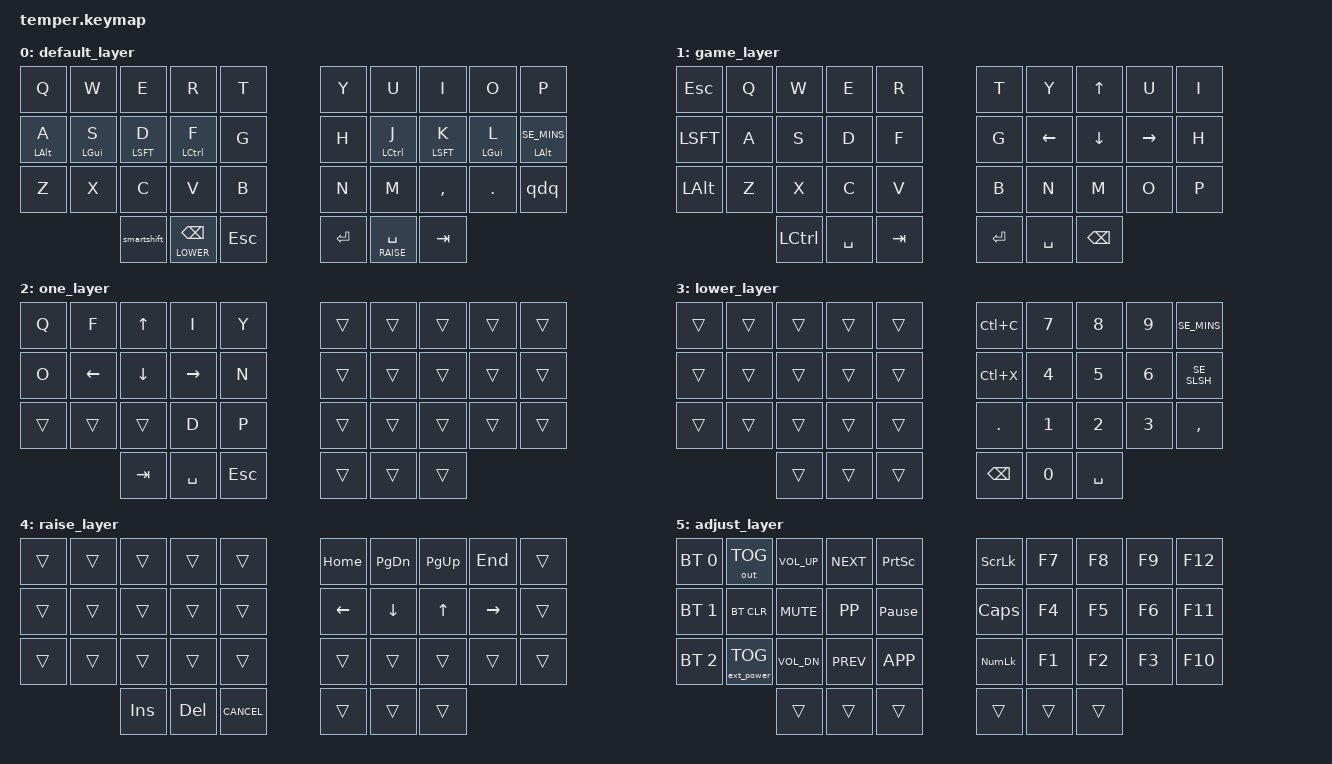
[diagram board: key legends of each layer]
#include <behaviors.dtsi>
#include "keys_se.h"
#include "betweenies.h"
#include <dt-bindings/zmk/bt.h>
#include <dt-bindings/zmk/outputs.h>
#include <dt-bindings/zmk/ext_power.h>

// key positions
#define RIGHT_HAND 5 6 7 8 9 15 16 17 18 19 25 26 27 28 29
#define LEFT_HAND 0 1 2 3 4 10 11 12 13 14 20 21 22 23 24
#define THUMBS 30 31 32 33 34 35

#define ___ &trans

// layers
#define DEFAULT 0
#define GAME 1
#define ONE 2
#define LOWER 3
#define RAISE 4
#define ADJUST 5

// https://github.com/urob/zmk-config#timeless-homerow-mods
#define HM(OTHER_HAND) \
  { \
      compatible = "zmk,behavior-hold-tap"; \
      #binding-cells = <2>; \
      flavor = "balanced"; \
      tapping-term-ms = <280>; \
      quick-tap-ms = <175>; \
      require-prior-idle-ms = <150>; \
      bindings = <&kp>, <&kp>; \
      hold-trigger-key-positions = <OTHER_HAND THUMBS>; \
      hold-trigger-on-release; \
  }

#define CMB_TIMEOUT 30
#define CMB_IDLE 100
#define CMB_SLOW_TIMEOUT 50
#define CMB_SLOW_IDLE 175

// This isn't perfect when overlapping with homerowmods (like SD and DF) since chording
// several of them will trigger a combo instead. The fix is tracked here
// https://github.com/zmkfirmware/zmk/issues/544, support for tap-only combos.
#define CMB(name, keypos, binding) \
  combo_ ## name { \
      layers = <DEFAULT>; \
      timeout-ms = <CMB_TIMEOUT>; \
      bindings = <binding>; \
      key-positions = <keypos>; \
      require-prior-idle-ms = <CMB_IDLE>; \
  }

&sk {
    // to avoid sticky shift potentially lasting for two keypresses instead of one
    quick-release;
};

&caps_word {
    continue-list = <SE_UNDS SE_MINS BACKSPACE DELETE>;
};

&lt {
    quick-tap-ms = <250>;
};

/ {
    macros {
        ZMK_MACRO(bothparens, bindings = <&kp SE_LPRN &kp SE_RPRN>;)
        ZMK_MACRO(bothbracks, bindings = <&kp SE_LBRC &kp SE_RBRC>;)
        ZMK_MACRO(bothbraces, bindings = <&kp SE_LCBR &kp SE_RCBR>;)
        ZMK_MACRO(bothltgt, bindings = <&kp SE_LT &kp SE_GT>;)
    };

    combos {
        compatible = "zmk,combos";

        combo_mo_adjust {
            timeout-ms = <CMB_SLOW_TIMEOUT>;
            bindings = <&mo ADJUST>;
            key-positions = <POS_BOTH_THUMBS>;
            require-prior-idle-ms = <CMB_SLOW_IDLE>;
        };

        combo_tog_game {
            layers = <DEFAULT GAME>;
            timeout-ms = <CMB_SLOW_TIMEOUT>;
            bindings = <&tog GAME>;
            key-positions = <POS_BOTH_RIGHT>;
            require-prior-idle-ms = <CMB_SLOW_IDLE>;
        };

        combo_tog_one {
            layers = <DEFAULT ONE>;
            timeout-ms = <CMB_SLOW_TIMEOUT>;
            bindings = <&tog ONE>;
            key-positions = <POS_BOTH_LEFT>;
            require-prior-idle-ms = <CMB_SLOW_IDLE>;
        };

        CMB(bslash, POS_ED, &kp SE_BSLS);
        CMB(and, POS_DC, &kp SE_AMPR);
        CMB(lpar, POS_SD, &kp SE_LPRN);
        CMB(rpar, POS_DF, &kp SE_RPRN);
        CMB(lbrack, POS_WE, &kp SE_LBRC);
        CMB(rbrack, POS_ER, &kp SE_RBRC);
        CMB(caret, POS_TG, &kp SE_CIRC);
        CMB(excl, POS_RF, &kp SE_EXLM);
        CMB(btick, POS_XC, &kp SE_GRV);
        CMB(ftick, POS_CV, &kp SE_ACUT);
        CMB(plus, POS_FV, &kp SE_PLUS);
        CMB(snabela, POS_WS, &kp SE_AT);
        CMB(tilde, POS_SX, &kp SE_TILD);
        CMB(staket, POS_GB, &kp SE_HASH);

        CMB(bothparens, POS_SDF, &bothparens);
        CMB(bothbracks, POS_WER, &bothbracks);

        CMB(dollar, POS_YH, &kp SE_DLR);
        CMB(slash, POS_IK, &kp SE_SLSH);
        CMB(or, POS_KCOM, &kp SE_PIPE);
        CMB(lbrace, POS_JK, &kp SE_LCBR);
        CMB(rbrace, POS_KL, &kp SE_RCBR);
        CMB(lt, POS_UI, &kp SE_LT);
        CMB(gt, POS_IO, &kp SE_GT);
        CMB(ques, POS_UJ, &kp SE_QUES);
        CMB(ouu, POS_OL, &kp SE_ARNG);
        CMB(aee, POS_LDOT, &kp SE_ADIA);
        CMB(oee, POS_COMDOT, &kp SE_ODIA);
        CMB(mult, POS_JM, &kp SE_ASTR);
        CMB(perc, POS_HN, &kp SE_PERC);
        CMB(eql, POS_MCOM, &kp SE_EQL);

        CMB(bothbraces, POS_JKL, &bothbraces);
        CMB(bothltgt, POS_UIO, &bothltgt);
    };
    behaviors {
        lhm: left_homerow_mods HM(RIGHT_HAND);
        rhm: right_homerow_mods HM(LEFT_HAND);
        smartshift: smart_shift {
            compatible = "zmk,behavior-mod-morph";
            #binding-cells = <0>;
            bindings = <&sk LSHFT>, <&caps_word>;
            mods = <(MOD_LSFT)>;
        };
        qdq: quote_double_quote {
            compatible = "zmk,behavior-mod-morph";
            #binding-cells = <0>;
            bindings = <&kp SE_QUOT>, <&kp SE_DQUO>;
            mods = <(MOD_LSFT|MOD_RSFT)>;
        };
    };
    keymap {
        compatible = "zmk,keymap";

        default_layer {
            bindings = <
// ┌─────────────┬─────────────┬─────────────┬─────────────┬─────────────┐   ┌─────────────┬─────────────┬─────────────┬─────────────┬─────────────┐
        &kp Q         &kp W         &kp E         &kp R         &kp T              &kp Y        &kp U         &kp I         &kp O         &kp P
// ├─────────────┼─────────────┼─────────────┼─────────────┼─────────────┤   ├─────────────┼─────────────┼─────────────┼─────────────┼─────────────┤
     &lhm LALT A   &lhm LGUI S   &lhm LSFT D   &lhm LCTL F      &kp G              &kp H     &rhm LCTL J   &rhm LSFT K   &rhm LGUI L  &rhm LALT SE_MINS
// ├─────────────┼─────────────┼─────────────┼─────────────┼─────────────┤   ├─────────────┼─────────────┼─────────────┼─────────────┼─────────────┤
        &kp Z         &kp X         &kp C         &kp V         &kp B              &kp N        &kp M       &kp COMMA      &kp DOT        &qdq
// └─────────────┴─────────────┼─────────────┼─────────────┼─────────────┤   ├─────────────┼─────────────┼─────────────┼─────────────┴─────────────┘
                                 &smartshift    &lt LOWER BSPC   &kp ESC           &kp RET    &lt RAISE SPACE  &kp TAB
//                             └─────────────┴─────────────┴─────────────┘   └─────────────┴─────────────┴─────────────┘
            >;
        };

        game_layer {
            bindings = <
// ┌─────────────┬─────────────┬─────────────┬─────────────┬─────────────┐   ┌─────────────┬─────────────┬─────────────┬─────────────┬─────────────┐
       &kp ESC        &kp Q         &kp W         &kp E         &kp R             &kp T         &kp Y        &kp UP         &kp U         &kp I
// ├─────────────┼─────────────┼─────────────┼─────────────┼─────────────┤   ├─────────────┼─────────────┼─────────────┼─────────────┼─────────────┤
       &kp LSFT       &kp A         &kp S         &kp D         &kp F             &kp G       &kp LEFT      &kp DOWN     &kp RIGHT        &kp H
// ├─────────────┼─────────────┼─────────────┼─────────────┼─────────────┤   ├─────────────┼─────────────┼─────────────┼─────────────┼─────────────┤
       &kp LALT       &kp Z         &kp X         &kp C         &kp V             &kp B         &kp N        &kp M          &kp O         &kp P
// └─────────────┴─────────────┼─────────────┼─────────────┼─────────────┤   ├─────────────┼─────────────┼─────────────┼─────────────┴─────────────┘
                                   &kp LCTL     &kp SPACE      &kp TAB           &kp RET      &kp SPACE     &kp BSPC
//                             └─────────────┴─────────────┴─────────────┘   └─────────────┴─────────────┴─────────────┘
            >;
        };

        one_layer {
            bindings = <
// ┌─────────────┬─────────────┬─────────────┬─────────────┬─────────────┐   ┌─────────────┬─────────────┬─────────────┬─────────────┬─────────────┐
        &kp Q         &kp F         &kp UP        &kp I         &kp Y              ___           ___           ___           ___           ___
// ├─────────────┼─────────────┼─────────────┼─────────────┼─────────────┤   ├─────────────┼─────────────┼─────────────┼─────────────┼─────────────┤
        &kp O       &kp LEFT       &kp DOWN     &kp RIGHT       &kp N              ___           ___           ___           ___           ___
// ├─────────────┼─────────────┼─────────────┼─────────────┼─────────────┤   ├─────────────┼─────────────┼─────────────┼─────────────┼─────────────┤
         ___           ___           ___          &kp D         &kp P              ___           ___           ___           ___           ___
// └─────────────┴─────────────┼─────────────┼─────────────┼─────────────┤   ├─────────────┼─────────────┼─────────────┼─────────────┴─────────────┘
                                   &kp TAB      &kp SPACE      &kp ESC             ___           ___           ___
//                             └─────────────┴─────────────┴─────────────┘   └─────────────┴─────────────┴─────────────┘
            >;
        };

        lower_layer {
            bindings = <
// ┌─────────────┬─────────────┬─────────────┬─────────────┬─────────────┐   ┌─────────────┬─────────────┬─────────────┬─────────────┬─────────────┐
         ___           ___           ___           ___           ___            &kp LC(C)      &kp N7         &kp N8        &kp N9     &kp SE_MINS
// ├─────────────┼─────────────┼─────────────┼─────────────┼─────────────┤   ├─────────────┼─────────────┼─────────────┼─────────────┼─────────────┤
         ___           ___           ___           ___           ___            &kp LC(X)      &kp N4         &kp N5        &kp N6     &kp SE_SLSH
// ├─────────────┼─────────────┼─────────────┼─────────────┼─────────────┤   ├─────────────┼─────────────┼─────────────┼─────────────┼─────────────┤
         ___           ___           ___           ___           ___             &kp DOT       &kp N1         &kp N2        &kp N3      &kp COMMA
// └─────────────┴─────────────┼─────────────┼─────────────┼─────────────┤   ├─────────────┼─────────────┼─────────────┼─────────────┴─────────────┘
                                     ___           ___           ___            &kp BSPC       &kp N0       &kp SPACE
//                             └─────────────┴─────────────┴─────────────┘   └─────────────┴─────────────┴─────────────┘
            >;
        };

        raise_layer {
            bindings = <
// ┌─────────────┬─────────────┬─────────────┬─────────────┬─────────────┐   ┌─────────────┬─────────────┬─────────────┬─────────────┬─────────────┐
         ___           ___           ___           ___           ___            &kp HOME      &kp PG_DN     &kp PG_UP      &kp END         ___
// ├─────────────┼─────────────┼─────────────┼─────────────┼─────────────┤   ├─────────────┼─────────────┼─────────────┼─────────────┼─────────────┤
         ___           ___           ___           ___           ___            &kp LEFT      &kp DOWN       &kp UP        &kp RIGHT       ___
// ├─────────────┼─────────────┼─────────────┼─────────────┼─────────────┤   ├─────────────┼─────────────┼─────────────┼─────────────┼─────────────┤
         ___           ___           ___           ___           ___               ___           ___           ___          ___            ___
// └─────────────┴─────────────┼─────────────┼─────────────┼─────────────┤   ├─────────────┼─────────────┼─────────────┼─────────────┴─────────────┘
                                  &kp INSERT   &kp DELETE    &kp K_CANCEL          ___           ___           ___
//                             └─────────────┴─────────────┴─────────────┘   └─────────────┴─────────────┴─────────────┘
            >;
        };

        adjust_layer {
            bindings = <
// ┌─────────────┬─────────────┬─────────────┬─────────────┬─────────────┐   ┌─────────────┬─────────────┬─────────────┬─────────────┬─────────────┐
     &bt BT_SEL 0  &out OUT_TOG  &kp C_VOL_UP  &kp C_NEXT     &kp PSCRN          &kp SLCK       &kp F7        &kp F8        &kp F9       &kp F12
// ├─────────────┼─────────────┼─────────────┼─────────────┼─────────────┤   ├─────────────┼─────────────┼─────────────┼─────────────┼─────────────┤
     &bt BT_SEL 1  &bt BT_CLR    &kp K_MUTE    &kp K_PP    &kp PAUSE_BREAK       &kp CAPS       &kp F4        &kp F5        &kp F6       &kp F11
// ├─────────────┼─────────────┼─────────────┼─────────────┼─────────────┤   ├─────────────┼─────────────┼─────────────┼─────────────┼─────────────┤
     &bt BT_SEL 2  &ext_power EP_TOG &kp C_VOL_DN &kp C_PREV  &kp K_APP        &kp KP_NUM       &kp F1        &kp F2        &kp F3       &kp F10
// └─────────────┴─────────────┼─────────────┼─────────────┼─────────────┤   ├─────────────┼─────────────┼─────────────┼─────────────┴─────────────┘
                                      ___          ___           ___               ___          ___            ___
//                             └─────────────┴─────────────┴─────────────┘   └─────────────┴─────────────┴─────────────┘
            >;
        };
    };
};
